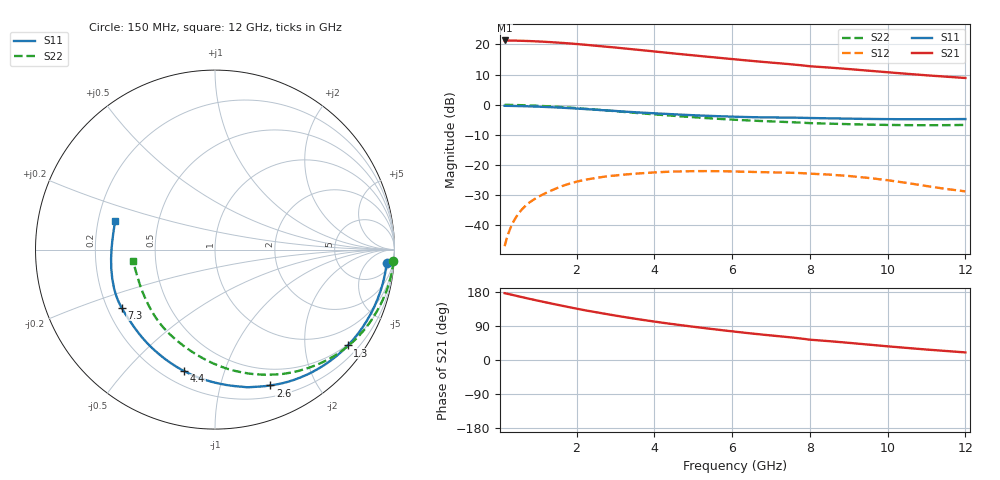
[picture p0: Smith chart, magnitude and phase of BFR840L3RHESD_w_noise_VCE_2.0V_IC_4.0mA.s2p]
! Infineon Technologies  Discrete & RF Semiconductors
! BFR840L3RHESD
! VCE =  2.0 V,  IC =  4.0 mA
! Common Emitter S-Parameters:  Jun 2012
# GHz  S  MA  R  50
!  f  S11  S21  S12  S22
! GHz  MAG  ANG  MAG  ANG  MAG  ANG  MAG  ANG
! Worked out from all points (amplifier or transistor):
!   91 points, 150 MHz to 12 GHz, reference 50 ohm
!   highest |S21| = 21.3 dB at 150 MHz (marker M1)
!   |S21| within 3 dB of that: start of sweep to 3.499 GHz
!   unconditionally stable (mu >= 1): 9.505 GHz to end of sweep
!   at 1.3 GHz: K = 0.08, MSG = 24.8 dB, |S12| = -28.8 dB
!   at 4.3 GHz: K = 0.26, MSG = 19.8 dB, |S12| = -22.3 dB
!   at 12 GHz: K = 2.37, MAG = 12.3 dB, |S12| = -28.8 dB
!   lowest NFmin = 0.46 dB at 450 MHz
!   S11 on the Smith chart (normalised r, x): 150 MHz: 11, -20; 1.3 GHz: 0.47, -3.03; 2.6 GHz: 0.32, -1.44; 4.4 GHz: 0.28, -0.74; 7.3 GHz: 0.26, -0.27; 12 GHz: 0.27, +0.13
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0.15  0.9592 -4.4  11.65 176.3  0.0045 85.0  0.9958 -3.6
0.35  0.955 -10.0  11.59 171.8  0.0106 83.0  0.9917 -8.3
0.7  0.9428 -19.8  11.43 163.5  0.0214 72.5  0.9765 -16.3
1  0.9292 -27.9  11.22 156.7  0.0292 68.2  0.9597 -23.0
1.3  0.9128 -35.8  10.95 150.2  0.0365 64.0  0.9395 -29.6
1.8  0.8795 -48.7  10.41 139.6  0.0486 55.6  0.8972 -40.2
2.2  0.8491 -58.7  9.912 131.6  0.0564 49.0  0.8582 -48.2
2.6  0.8175 -67.8  9.379 124.3  0.0624 42.8  0.8192 -55.7
3  0.788 -76.8  8.895 117.2  0.0668 37.7  0.7815 -62.7
3.3  0.7642 -83.0  8.492 112.2  0.0699 33.3  0.7522 -67.9
3.7  0.7378 -91.1  8.002 105.9  0.0732 28.6  0.7169 -74.5
4.2  0.7095 -100.5  7.422 98.5  0.0764 23.2  0.677 -82.2
4.4  0.6989 -104.1  7.202 95.7  0.0774 21.1  0.6621 -85.2
5.2  0.6612 -117.9  6.407 85.3  0.0791 13.0  0.6081 -96.6
6.1  0.6316 -131.9  5.643 74.5  0.0779 5.6  0.5619 -108.7
6.6  0.62 -139.0  5.268 68.9  0.0765 1.8  0.5421 -115.2
7.3  0.6128 -148.2  4.818 61.8  0.0748 -2.7  0.5198 -123.9
8  0.6019 -159.3  4.346 53.6  0.0718 -8.2  0.4954 -134.1
8.5  0.5947 -164.3  4.134 49.7  0.0693 -11.1  0.4853 -138.8
9.5  0.5811 -175.0  3.675 40.7  0.0611 -17.3  0.468 -149.4
10.5  0.5742 175.4  3.256 31.8  0.0503 -21.0  0.4585 -159.6
12  0.5787 164.2  2.777 20.0  0.0365 -14.7  0.462 -172.1
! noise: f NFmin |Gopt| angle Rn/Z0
0.45  0.46  0.6  7  0.21
0.9  0.5  0.59  12  0.2
1.9  0.54  0.56  27  0.19
3.5  0.56  0.56  47  0.17
4  0.59  0.56  55  0.17
5.5  0.63  0.57  70  0.15
7  0.72  0.54  89  0.13
8  0.79  0.51  102  0.12
10  0.92  0.46  122  0.1
12  1.1  0.38  153  0.08
